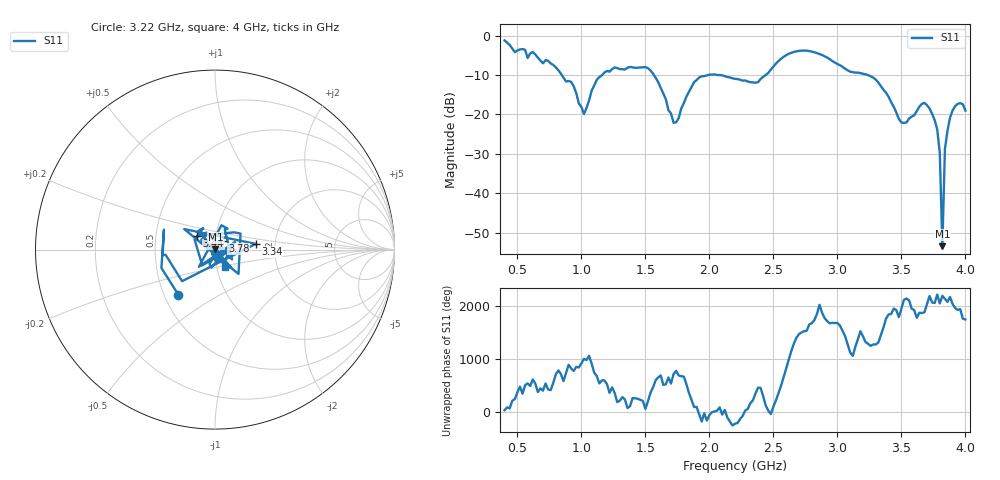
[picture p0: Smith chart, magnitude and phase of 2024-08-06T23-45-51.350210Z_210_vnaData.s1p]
!Created with skrf (http://scikit-rf.org).
# Hz S RI R 50.0
!freq ReS11 ImS11
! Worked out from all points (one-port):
!   181 points, 400 MHz to 4 GHz, reference 50 ohm
!   lowest |S11| = -53.5 dB at 3.82 GHz (marker M1), VSWR 1.00, Z = 50.2 + j0.0878 ohm
!   |S11| at or under -10 dB: 1.567 GHz to 1.988 GHz (421.3 MHz wide, 23.7 % of centre); 2.082 GHz to 2.439 GHz (356.7 MHz wide, 15.8 % of centre); 3.238 GHz to end of sweep (the widest 3 of 4)
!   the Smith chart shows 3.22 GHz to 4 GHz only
!   S11 on the Smith chart (normalised r, x): 3.22 GHz: 0.59, -0.33; 3.34 GHz: 1.58, +0.11; 3.44 GHz: 0.81, +0.12; 3.78 GHz: 1.08, +0.11; 4 GHz: 1.09, -0.22
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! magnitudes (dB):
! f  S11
! 400 MHz  -1.2
! 860 MHz  -10.7
! 940 MHz  -12.8
! 1.02 GHz  -19.9
! 1.12 GHz  -11.2
! 1.3 GHz  -8.5
! 1.52 GHz  -8.2
! 1.6 GHz  -11.8
! 1.72 GHz  -22.1
! 1.76 GHz  -20.9
! 1.92 GHz  -10.6
! 2.2 GHz  -11.0
! 2.38 GHz  -11.8
! 2.66 GHz  -4.1
! 3.1 GHz  -9.1
! 3.22 GHz  -9.8
! 3.34 GHz  -12.8
! 3.44 GHz  -18.0
! 3.5 GHz  -22.0
! 3.56 GHz  -21.1
! 3.68 GHz  -17.1
! 3.78 GHz  -23.8
! 3.8 GHz  -29.8
! 3.82 GHz  -53.5
! 3.84 GHz  -28.8
! 3.86 GHz  -24.2
! 3.92 GHz  -17.9
! 4 GHz  -19.0
